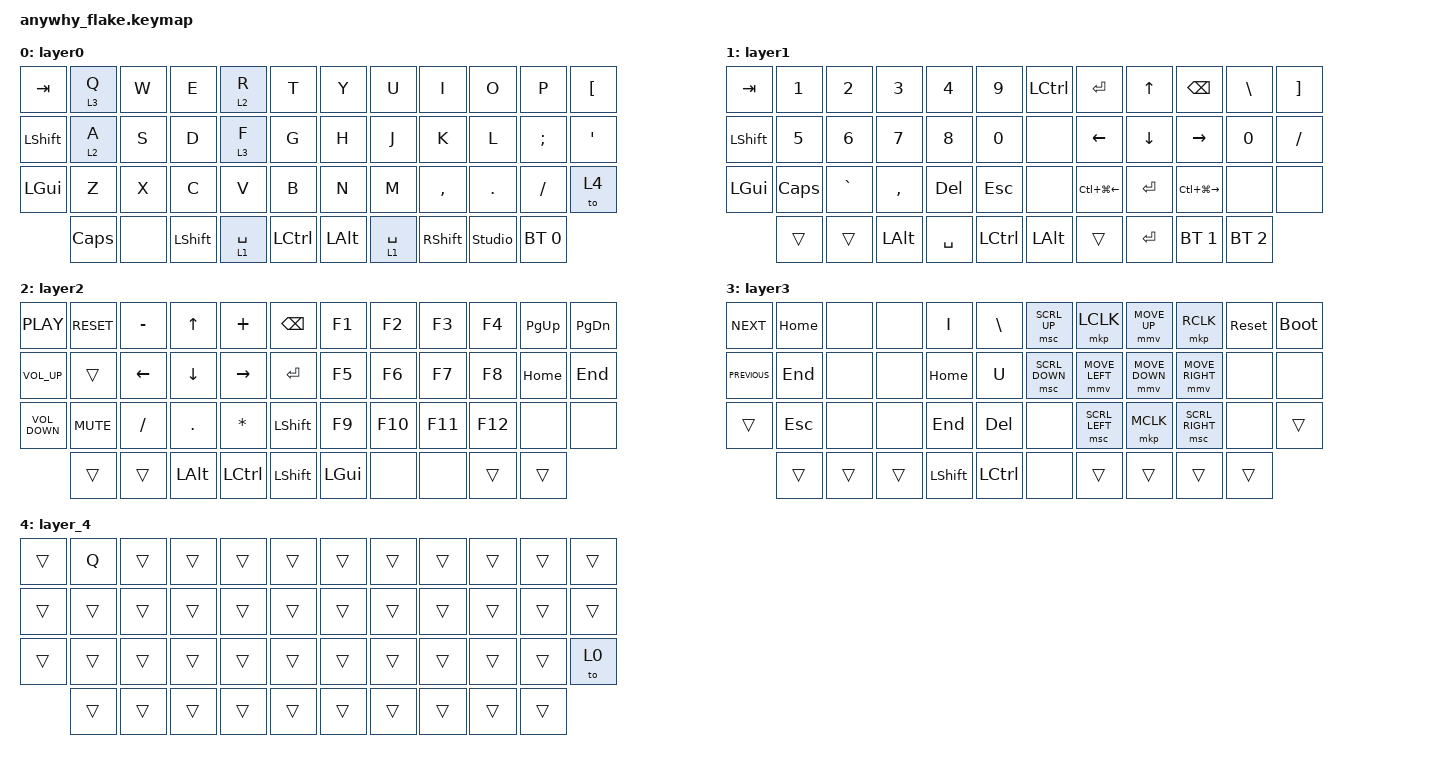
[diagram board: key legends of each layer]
#include <behaviors.dtsi>
#include <dt-bindings/zmk/bt.h>
#include <dt-bindings/zmk/keys.h>
#include <dt-bindings/zmk/pointing.h>

#define DEF 0
#define LWR 1
#define RSE 2
#define ADJ 3

&lt { quick-tap-ms = <200>; };

&mt { quick-tap-ms = <200>; };

/ {
    conditional_layers { compatible = "zmk,conditional-layers"; };

    macros {
        site: site {
            compatible = "zmk,behavior-macro";
            #binding-cells = <0>;
            bindings = <>;
            label = "SITE";
        };
    };

    keymap {
        compatible = "zmk,keymap";

        layer0 {
            bindings = <
&kp TAB         &lt 3 Q       &kp W  &kp E           &lt 2 R      &kp T               &kp Y         &kp U        &kp I            &kp O           &kp P         &kp LBKT
&kp LEFT_SHIFT  &lt 2 A       &kp S  &kp D           &lt 3 F      &kp G               &kp H         &kp J        &kp K            &kp L           &kp SEMI      &kp APOS
&kp LEFT_GUI    &kp Z         &kp X  &kp C           &kp V        &kp B               &kp N         &kp M        &kp COMMA        &kp DOT         &kp FSLH      &to 4
                &kp CAPSLOCK  &none  &kp LEFT_SHIFT  &lt 1 SPACE  &kp LEFT_CONTROL    &kp LEFT_ALT  &lt 1 SPACE  &kp RIGHT_SHIFT  &studio_unlock  &bt BT_SEL 0
            >;
        };

        layer1 {
            bindings = <
&kp TAB         &kp NUMBER_1  &kp NUMBER_2  &kp NUMBER_3  &kp NUMBER_4  &kp N9              &kp LEFT_CONTROL  &kp ENTER               &kp UP_ARROW    &kp BACKSPACE            &kp BACKSLASH  &kp RBKT
&kp LEFT_SHIFT  &kp N5        &kp NUMBER_6  &kp N7        &kp N8        &kp N0              &none             &kp LEFT_ARROW          &kp DOWN_ARROW  &kp RIGHT                &kp N0         &kp SLASH
&kp LEFT_GUI    &kp CAPSLOCK  &kp GRAVE     &kp COMMA     &kp DELETE    &kp ESCAPE          &none             &kp LC(LG(LEFT_ARROW))  &kp ENTER       &kp LC(LG(RIGHT_ARROW))  &none          &none
                &trans        &trans        &kp LEFT_ALT  &kp SPACE     &kp LEFT_CONTROL    &kp LEFT_ALT      &trans                  &kp ENTER       &bt BT_SEL 1             &bt BT_SEL 2
            >;
        };

        layer2 {
            bindings = <
&kp C_PLAY         &kp C_RESET  &kp MINUS  &kp UP_ARROW  &kp PLUS          &kp BACKSPACE     &kp F1        &kp F2   &kp F3   &kp F4   &kp PAGE_UP  &kp PAGE_DOWN
&kp C_VOLUME_UP    &trans       &kp LEFT   &kp DOWN      &kp RIGHT         &kp ENTER         &kp F5        &kp F6   &kp F7   &kp F8   &kp HOME     &kp END
&kp C_VOLUME_DOWN  &kp C_MUTE   &kp SLASH  &kp PERIOD    &kp ASTERISK      &kp LEFT_SHIFT    &kp F9        &kp F10  &kp F11  &kp F12  &none        &none
                   &trans       &trans     &kp LEFT_ALT  &kp LEFT_CONTROL  &kp LEFT_SHIFT    &kp LEFT_GUI  &none    &none    &trans   &trans
            >;
        };

        layer3 {
            bindings = <
&kp C_NEXT      &kp HOME    &none   &none   &kp I           &kp BACKSLASH       &msc SCRL_UP    &mkp LCLK       &mmv MOVE_UP    &mkp RCLK        &sys_reset  &bootloader
&kp C_PREVIOUS  &kp END     &none   &none   &kp HOME        &kp U               &msc SCRL_DOWN  &mmv MOVE_LEFT  &mmv MOVE_DOWN  &mmv MOVE_RIGHT  &none       &none
&trans          &kp ESCAPE  &none   &none   &kp END         &kp DELETE          &none           &msc SCRL_LEFT  &mkp MCLK       &msc SCRL_RIGHT  &none       &trans
                &trans      &trans  &trans  &kp LEFT_SHIFT  &kp LEFT_CONTROL    &none           &trans          &trans          &trans           &trans
            >;
        };

        layer_4 {
            bindings = <
&trans  &kp Q   &trans  &trans  &trans  &trans    &trans  &trans  &trans  &trans  &trans  &trans
&trans  &trans  &trans  &trans  &trans  &trans    &trans  &trans  &trans  &trans  &trans  &trans
&trans  &trans  &trans  &trans  &trans  &trans    &trans  &trans  &trans  &trans  &trans  &to 0
        &trans  &trans  &trans  &trans  &trans    &trans  &trans  &trans  &trans  &trans
            >;
        };
    };
};
